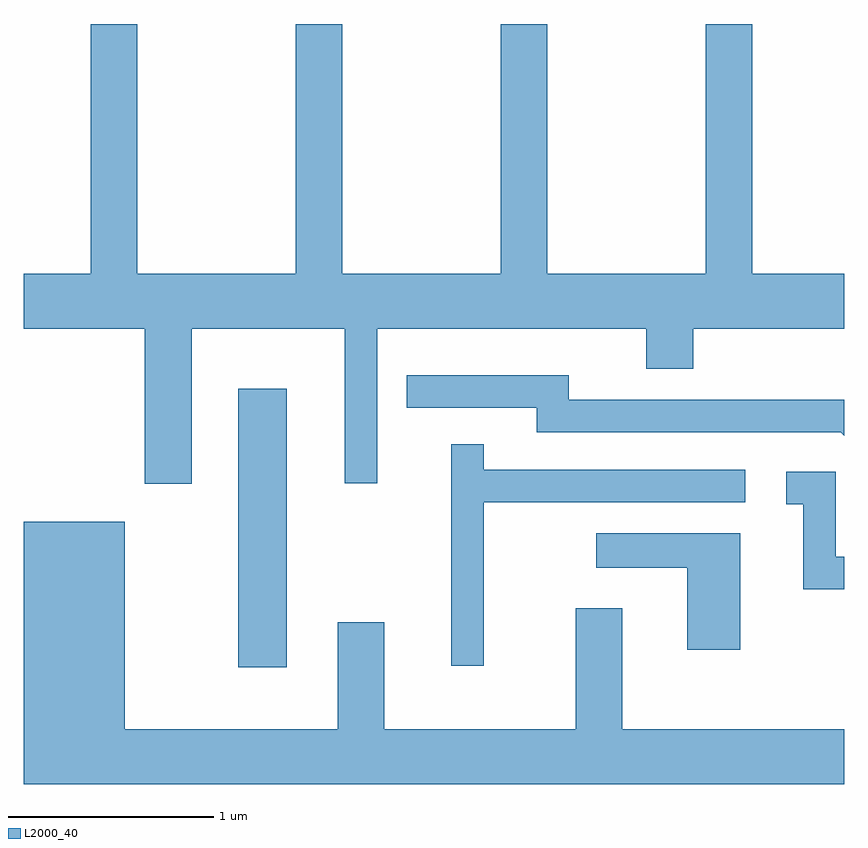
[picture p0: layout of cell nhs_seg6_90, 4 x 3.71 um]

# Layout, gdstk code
import gdstk
lib = gdstk.Library(unit=1e-6, precision=1e-09)
def R(c, l, rs):  # rectangles x0, y0, x1, y1
    for r in rs: c.add(gdstk.rectangle(r[:2], r[2:], *l))
def P(c, l, *ps):  # polygons
    for p in ps: c.add(gdstk.Polygon(p, *l))
L2000_40 = (2000, 40)

nhs_seg6_90 = lib.new_cell('nhs_seg6_90')
R(nhs_seg6_90, L2000_40, [(188.656,1575.026,188.894,1576.384)])
P(nhs_seg6_90, L2000_40, [(188.429,1576.676),(189.176,1576.676),(189.176,1575.923),(189.334,1575.923),(189.334,1576.676),(190.646,1576.676),(190.646,1576.481),(190.874,1576.481),(190.874,1576.676),(191.611,1576.676),(191.611,1576.944),(191.164,1576.944),(191.164,1578.162),(190.936,1578.162),(190.936,1576.944),(190.164,1576.944),(190.164,1578.162),(189.936,1578.162),(189.936,1576.944),(189.164,1576.944),(189.164,1578.162),(188.936,1578.162),(188.936,1576.944),(188.164,1576.944),(188.164,1578.162),(187.936,1578.162),(187.936,1576.944),(187.611,1576.944),(187.611,1576.676),(188.201,1576.676),(188.201,1575.921),(188.429,1575.921)],
  [(191.611,1576.329),(190.269,1576.329),(190.269,1576.449),(189.478,1576.449),(189.478,1576.291),(190.111,1576.291),(190.111,1576.171),(191.594,1576.171),(191.611,1576.154)],
  [(189.854,1575.831),(191.128,1575.831),(191.128,1575.989),(189.854,1575.989),(189.854,1576.113),(189.696,1576.113),(189.696,1575.033),(189.854,1575.033)],
  [(191.611,1575.564),(191.569,1575.564),(191.569,1575.979),(191.328,1575.979),(191.328,1575.821),(191.411,1575.821),(191.411,1575.406),(191.611,1575.406)],
  [(191.611,1574.724),(190.529,1574.724),(190.529,1575.314),(190.301,1575.314),(190.301,1574.724),(189.369,1574.724),(189.369,1575.244),(189.141,1575.244),(189.141,1574.724),(188.104,1574.724),(188.104,1575.734),(187.611,1575.734),(187.611,1574.456),(191.611,1574.456)],
  [(191.104,1575.679),(190.403,1575.679),(190.403,1575.511),(190.846,1575.511),(190.846,1575.111),(191.104,1575.111)])

lib.write_gds('nhs_seg6_90.gds')
